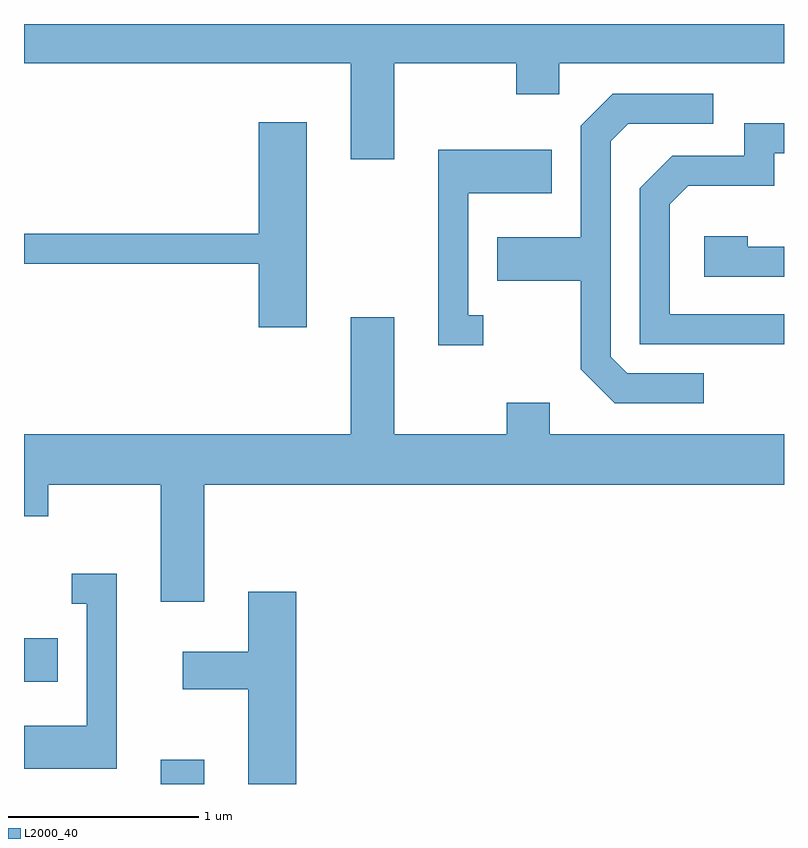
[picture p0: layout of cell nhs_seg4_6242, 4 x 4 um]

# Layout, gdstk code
import gdstk
lib = gdstk.Library(unit=1e-6, precision=1e-09)
def R(c, l, rs):  # rectangles x0, y0, x1, y1
    for r in rs: c.add(gdstk.rectangle(r[:2], r[2:], *l))
def P(c, l, *ps):  # polygons
    for p in ps: c.add(gdstk.Polygon(p, *l))
L2000_40 = (2000, 40)

nhs_seg4_6242 = lib.new_cell('nhs_seg4_6242')
R(nhs_seg4_6242, L2000_40, [(368.331,1361.982,368.559,1362.109), (367.611,1362.521,367.789,1362.749)])
P(nhs_seg4_6242, L2000_40, [(369.559,1365.776),(370.201,1365.776),(370.201,1365.611),(370.429,1365.611),(370.429,1365.776),(371.611,1365.776),(371.611,1365.982),(367.611,1365.982),(367.611,1365.776),(369.331,1365.776),(369.331,1365.271),(369.559,1365.271)],
  [(371.188,1364.144),(370.787,1364.144),(370.699,1364.232),(370.699,1365.364),(370.792,1365.456),(371.238,1365.456),(371.238,1365.614),(370.709,1365.614),(370.541,1365.447),(370.541,1364.859),(370.101,1364.859),(370.101,1364.631),(370.541,1364.631),(370.541,1364.164),(370.719,1363.986),(371.188,1363.986)],
  [(369.099,1365.464),(368.846,1365.464),(368.846,1364.879),(367.611,1364.879),(367.611,1364.721),(368.846,1364.721),(368.846,1364.386),(369.099,1364.386)],
  [(371.611,1364.454),(371.009,1364.454),(371.009,1365.034),(371.107,1365.131),(371.559,1365.131),(371.559,1365.301),(371.611,1365.301),(371.611,1365.459),(371.401,1365.459),(371.401,1365.289),(371.024,1365.289),(370.851,1365.117),(370.851,1364.296),(371.611,1364.296)],
  [(370.028,1364.449),(369.949,1364.449),(369.949,1365.091),(370.389,1365.091),(370.389,1365.319),(369.791,1365.319),(369.791,1364.291),(370.028,1364.291)],
  [(371.611,1364.809),(371.419,1364.809),(371.419,1364.864),(371.191,1364.864),(371.191,1364.651),(371.611,1364.651)],
  [(368.559,1363.556),(371.611,1363.556),(371.611,1363.824),(370.379,1363.824),(370.379,1363.989),(370.151,1363.989),(370.151,1363.824),(369.559,1363.824),(369.559,1364.439),(369.331,1364.439),(369.331,1363.824),(367.611,1363.824),(367.611,1363.391),(367.739,1363.391),(367.739,1363.556),(368.331,1363.556),(368.331,1362.941),(368.559,1362.941)],
  [(368.099,1363.089),(367.863,1363.089),(367.863,1362.931),(367.941,1362.931),(367.941,1362.289),(367.611,1362.289),(367.611,1362.061),(368.099,1362.061)],
  [(369.044,1362.994),(368.791,1362.994),(368.791,1362.679),(368.446,1362.679),(368.446,1362.481),(368.791,1362.481),(368.791,1361.982),(369.044,1361.982)])

lib.write_gds('nhs_seg4_6242.gds')
